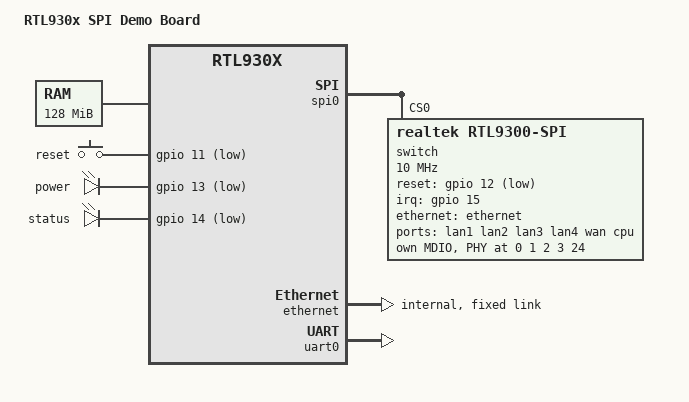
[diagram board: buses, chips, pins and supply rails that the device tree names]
// SPDX-License-Identifier: GPL-2.0-or-later OR MIT

/dts-v1/;

#include <dt-bindings/gpio/gpio.h>
#include <dt-bindings/interrupt-controller/irq.h>

/ {
	compatible = "realtek,rtl930x-spi-demo";
	model = "RTL930x SPI Demo Board";

	aliases {
		ethernet0 = &ethernet;
	};

	memory@0 {
		device_type = "memory";
		reg = <0x0 0x8000000>;
	};

	gpio-keys {
		compatible = "gpio-keys";
		
		reset {
			label = "reset";
			gpios = <&gpio 11 GPIO_ACTIVE_LOW>;
			linux,code = <0x198>; /* KEY_RESTART */
		};
	};

	gpio-leds {
		compatible = "gpio-leds";
		
		power {
			label = "power";
			gpios = <&gpio 13 GPIO_ACTIVE_LOW>;
			default-state = "on";
		};
		
		status {
			label = "status";
			gpios = <&gpio 14 GPIO_ACTIVE_LOW>;
		};
	};
};

&spi0 {
	status = "okay";
	#address-cells = <1>;
	#size-cells = <0>;

	/* RTL930x switch connected via SPI */
	switch@0 {
		compatible = "realtek,rtl9300-spi";
		reg = <0>;
		spi-max-frequency = <10000000>;
		
		/* Hardware control GPIOs */
		reset-gpios = <&gpio 12 GPIO_ACTIVE_LOW>;
		cs-gpios = <&gpio 8 GPIO_ACTIVE_LOW>;
		
		/* Interrupt from switch to host */
		interrupt-parent = <&gpio>;
		interrupts = <15 IRQ_TYPE_LEVEL_LOW>;
		
		/* Switch port configuration */
		ports {
			#address-cells = <1>;
			#size-cells = <0>;
			
			/* LAN ports */
			port@0 {
				reg = <0>;
				label = "lan1";
				phy-handle = <&phy0>;
			};
			
			port@1 {
				reg = <1>;
				label = "lan2";
				phy-handle = <&phy1>;
			};
			
			port@2 {
				reg = <2>;
				label = "lan3";
				phy-handle = <&phy2>;
			};
			
			port@3 {
				reg = <3>;
				label = "lan4";
				phy-handle = <&phy3>;
			};
			
			/* WAN port */
			port@24 {
				reg = <24>;
				label = "wan";
				phy-handle = <&phy24>;
			};
			
			/* CPU port */
			port@28 {
				reg = <28>;
				label = "cpu";
				ethernet = <&ethernet>;
				phy-mode = "internal";
				
				fixed-link {
					speed = <1000>;
					full-duplex;
				};
			};
		};
		
		/* MDIO bus for PHY management */
		mdio {
			compatible = "realtek,rtl930x-mdio";
			#address-cells = <1>;
			#size-cells = <0>;
			
			/* Internal PHYs */
			phy0: ethernet-phy@0 {
				reg = <0>;
				interrupt-parent = <&switch>;
				interrupts = <0>;
			};
			
			phy1: ethernet-phy@1 {
				reg = <1>;
				interrupt-parent = <&switch>;
				interrupts = <1>;
			};
			
			phy2: ethernet-phy@2 {
				reg = <2>;
				interrupt-parent = <&switch>;
				interrupts = <2>;
			};
			
			phy3: ethernet-phy@3 {
				reg = <3>;
				interrupt-parent = <&switch>;
				interrupts = <3>;
			};
			
			/* External PHY for WAN */
			phy24: ethernet-phy@24 {
				reg = <24>;
				interrupt-parent = <&switch>;
				interrupts = <24>;
			};
		};
		
		/* LED configuration */
		leds {
			compatible = "realtek,rtl930x-leds";
			
			/* LED set 0 configuration */
			led_set0 = <0x0040 0x0080 0x00C0 0x0100>;
			
			/* LED set 1 configuration */  
			led_set1 = <0x0140 0x0180 0x01C0 0x0200>;
			
			/* Force LED assignment for specific ports */
			realtek,led-set0-force-port-mask = <0x0000000F>; /* Ports 0-3 */
			realtek,led-set1-force-port-mask = <0x01000000>; /* Port 24 */
			
			active-low;
		};
	};
};

&ethernet {
	status = "okay";
	phy-mode = "internal";
	
	fixed-link {
		speed = <1000>;
		full-duplex;
	};
};

&gpio {
	status = "okay";
};

&uart0 {
	status = "okay";
};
